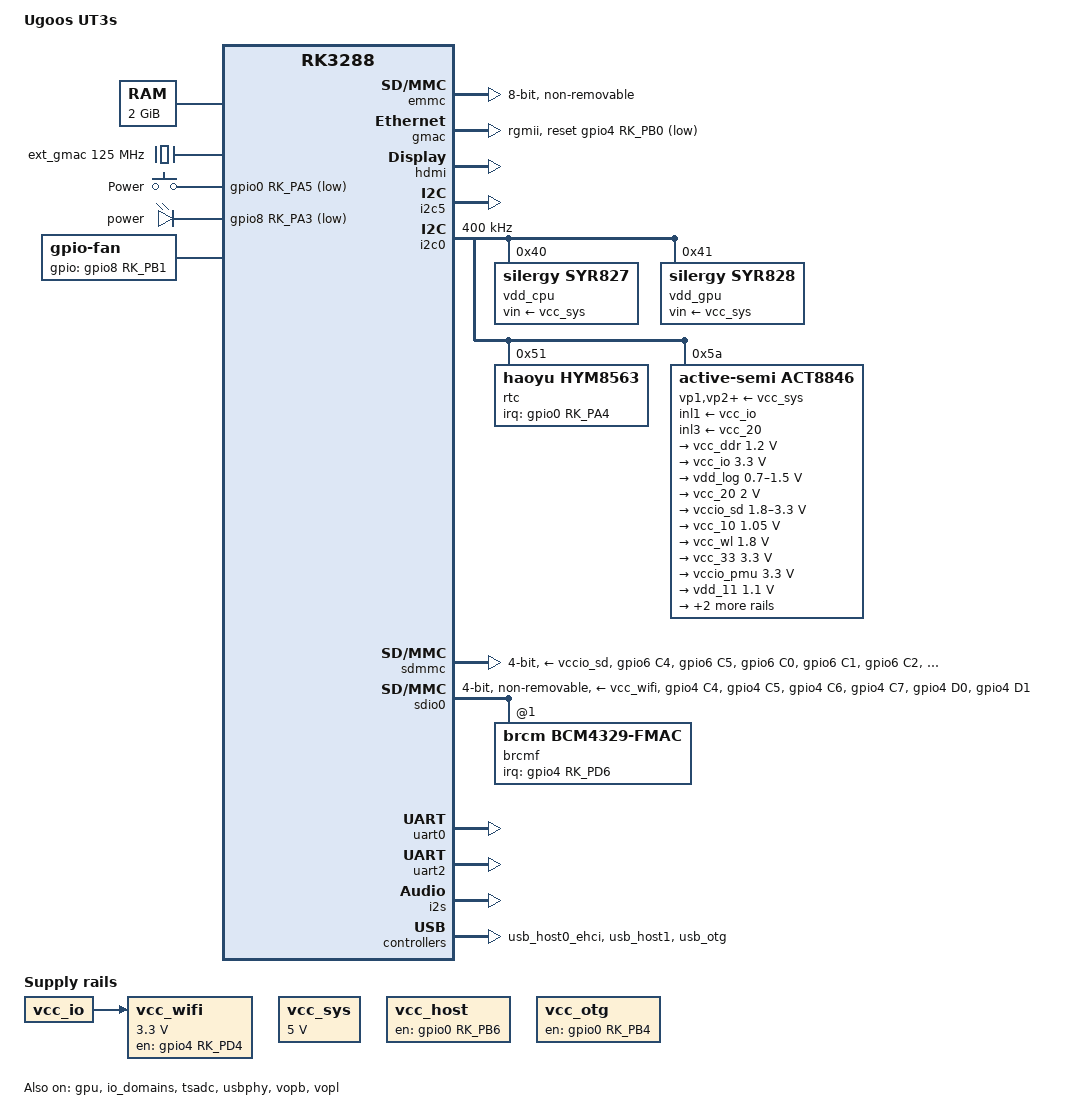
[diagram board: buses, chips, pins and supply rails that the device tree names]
// SPDX-License-Identifier: (GPL-2.0+ OR MIT)
/*
 * Ugoos UT3s (Rockchip RK3288) TV-box
 *
 */
/dts-v1/;
#include "rk3288.dtsi"
#include <dt-bindings/input/input.h>

/ {
	model = "Ugoos UT3s";
	compatible = "ugoos,ut3s", "rockchip,rk3288";

	/*
	 * The MMC core derives the block-device index from the "mmc*" aliases
	 * (of_alias_get_id "mmc"); rk3288.dtsi only provides the legacy "mshc*"
	 * aliases, so without these the index falls back to probe order and the
	 * SD card's mmcblkN number flips between boots.
	 * Pin it: emmc=0, SD=1, SDIO/Wi-Fi=2.
	 */
	aliases {
		mmc0 = &emmc;
		mmc1 = &sdmmc;
		mmc2 = &sdio0;
		mmc3 = &sdio1;
	};

	chosen {
		/* Vendor FIQ debugger was on UART2 (serial-id 0x02). */
		stdout-path = "serial2:115200n8";
	};

	memory@0 {
		device_type = "memory";
		reg = <0x0 0x0 0x0 0x80000000>;
	};

	sound {
		compatible = "simple-audio-card";
		simple-audio-card,format = "i2s";
		simple-audio-card,name = "HDMI";
		simple-audio-card,mclk-fs = <512>;

		simple-audio-card,codec {
			sound-dai = <&hdmi>;
		};

		simple-audio-card,cpu {
			sound-dai = <&i2s>;
		};
	};

	ext_gmac: external-gmac-clock {
		compatible = "fixed-clock";
		clock-frequency = <125000000>;
		clock-output-names = "ext_gmac";
		#clock-cells = <0>;
	};

	/* Factory LAN MAC, read from the Rockchip IDB (loader block) by the
	 * rockchip-idb-mac nvmem driver. */
	idb_mac: idb-mac {
		compatible = "rockchip,rk3288-idb-mac";
		#address-cells = <1>;
		#size-cells = <1>;

		mac_address: mac-address@0 {
			reg = <0x0 0x6>;
		};
	};

	gpio-keys {
		compatible = "gpio-keys";
		autorepeat;

		pinctrl-names = "default";
		pinctrl-0 = <&pwrbtn>;

		power {
			gpios = <&gpio0 RK_PA5 GPIO_ACTIVE_LOW>;
			linux,code = <KEY_POWER>;
			label = "Power";
			linux,input-type = <1>;
			wakeup-source;
			debounce-interval = <100>;
		};
	};

	gpio-leds {
		compatible = "gpio-leds";

		power {
			gpios = <&gpio8 RK_PA3 GPIO_ACTIVE_LOW>;
			label = "power";
			default-state = "on";
		};
	};

	fan: gpio-fan {
		compatible = "gpio-fan";
		gpios = <&gpio8 RK_PB1 GPIO_ACTIVE_HIGH>;
		/* On/off fan; RPM value is a nominal placeholder. */
		gpio-fan,speed-map = <0 0>, <10000 1>;
		#cooling-cells = <2>;
		status = "okay";
	};

	vcc_sys: regulator-vsys {
		compatible = "regulator-fixed";
		regulator-name = "vcc_sys";
		regulator-min-microvolt = <5000000>;
		regulator-max-microvolt = <5000000>;
		regulator-always-on;
		regulator-boot-on;
	};

	vcc_host: regulator-vcc-host {
		compatible = "regulator-fixed";
		regulator-name = "vcc_host";
		enable-active-high;
		gpio = <&gpio0 RK_PB6 GPIO_ACTIVE_HIGH>;
		pinctrl-names = "default";
		pinctrl-0 = <&host_vbus_drv>;
		regulator-always-on;
		regulator-boot-on;
	};

	/* USB OTG VBUS switch; same polarity change as vcc_host above. */
	vcc_otg: regulator-vcc-otg {
		compatible = "regulator-fixed";
		regulator-name = "vcc_otg";
		enable-active-high;
		gpio = <&gpio0 RK_PB4 GPIO_ACTIVE_HIGH>;
		pinctrl-names = "default";
		pinctrl-0 = <&otg_vbus_drv>;
		regulator-always-on;
		regulator-boot-on;
	};

	vcc_wifi: regulator-vcc-wifi {
		compatible = "regulator-fixed";
		regulator-name = "vcc_wifi";
		regulator-min-microvolt = <3300000>;
		regulator-max-microvolt = <3300000>;
		enable-active-high;
		gpio = <&gpio4 RK_PD4 GPIO_ACTIVE_HIGH>;
		pinctrl-names = "default";
		pinctrl-0 = <&wifi_en>;
		startup-delay-us = <100000>;
		vin-supply = <&vcc_io>;
	};
};

&cpu0 {
	cpu0-supply = <&vdd_cpu>;
};

&emmc {
	bus-width = <8>;
	cap-mmc-highspeed;
	disable-wp;
	non-removable;
	pinctrl-names = "default";
	pinctrl-0 = <&emmc_clk &emmc_cmd &emmc_pwr &emmc_bus8>;
	status = "okay";
};

&gmac {
	assigned-clocks = <&cru SCLK_MAC>;
	assigned-clock-parents = <&ext_gmac>;
	clock_in_out = "input";
	phy-mode = "rgmii";
	pinctrl-names = "default";
	pinctrl-0 = <&rgmii_pins>;
	snps,reset-gpio = <&gpio4 RK_PB0 GPIO_ACTIVE_HIGH>;
	snps,reset-active-low;
	snps,reset-delays-us = <0 10000 1000000>;
	tx_delay = <0x30>;
	rx_delay = <0x26>;
	nvmem-cells = <&mac_address>;
	nvmem-cell-names = "mac-address";
	status = "okay";
};

&gpu {
	mali-supply = <&vdd_gpu>;
	status = "okay";
};

&hdmi {
	ddc-i2c-bus = <&i2c5>;
	status = "okay";
};

/* HDMI DDC (monitor EDID) bus. */
&i2c5 {
	status = "okay";
};

&i2c0 {
	clock-frequency = <400000>;
	status = "okay";

	vdd_cpu: syr827@40 {
		compatible = "silergy,syr827";
		fcs,suspend-voltage-selector = <1>;
		reg = <0x40>;
		regulator-name = "vdd_cpu";
		regulator-min-microvolt = <712500>;
		regulator-max-microvolt = <1500000>;
		regulator-always-on;
		regulator-boot-on;
		vin-supply = <&vcc_sys>;
	};

	vdd_gpu: syr828@41 {
		compatible = "silergy,syr828";
		fcs,suspend-voltage-selector = <1>;
		reg = <0x41>;
		regulator-name = "vdd_gpu";
		regulator-min-microvolt = <712500>;
		regulator-max-microvolt = <1500000>;
		regulator-always-on;
		regulator-boot-on;
		vin-supply = <&vcc_sys>;
	};

	rtc@51 {
		compatible = "haoyu,hym8563";
		reg = <0x51>;

		interrupt-parent = <&gpio0>;
		interrupts = <RK_PA4 IRQ_TYPE_EDGE_FALLING>;

		pinctrl-names = "default";
		pinctrl-0 = <&pmic_int>;

		#clock-cells = <0>;
		clock-output-names = "xin32k";
	};

	act8846: act8846@5a {
		compatible = "active-semi,act8846", "act,act8846";
		reg = <0x5a>;
		status = "okay";

		vp1-supply = <&vcc_sys>;
		vp2-supply = <&vcc_sys>;
		vp3-supply = <&vcc_sys>;
		vp4-supply = <&vcc_sys>;
		inl1-supply = <&vcc_io>;
		inl2-supply = <&vcc_sys>;
		inl3-supply = <&vcc_20>;

		regulators {
			vcc_ddr: REG1 {
				regulator-name = "VCC_DDR";
				regulator-min-microvolt = <1200000>;
				regulator-max-microvolt = <1200000>;
				regulator-always-on;
				regulator-boot-on;
			};

			vcc_io: REG2 {
				regulator-name = "VCC_IO";
				regulator-min-microvolt = <3300000>;
				regulator-max-microvolt = <3300000>;
				regulator-always-on;
				regulator-boot-on;
			};

			vdd_log: REG3 {
				regulator-name = "VDD_LOG";
				regulator-min-microvolt = <700000>;
				regulator-max-microvolt = <1500000>;
				regulator-always-on;
				regulator-boot-on;
			};

			vcc_20: REG4 {
				regulator-name = "VCC_20";
				regulator-min-microvolt = <2000000>;
				regulator-max-microvolt = <2000000>;
				regulator-always-on;
				regulator-boot-on;
			};

			vccio_sd: REG5 {
				regulator-name = "VCCIO_SD";
				regulator-min-microvolt = <1800000>;
				regulator-max-microvolt = <3300000>;
				regulator-always-on;
				regulator-boot-on;
			};

			/* vendor "act_ldo2", 1.05 V */
			vcc_10: REG6 {
				regulator-name = "VCC_10";
				regulator-min-microvolt = <1050000>;
				regulator-max-microvolt = <1050000>;
				regulator-always-on;
				regulator-boot-on;
			};

			/* vendor "act_ldo3", 1.8 V Wi-Fi SDIO reference */
			vcc_wl: REG7 {
				regulator-name = "VCC_WL";
				regulator-min-microvolt = <1800000>;
				regulator-max-microvolt = <1800000>;
				regulator-always-on;
				regulator-boot-on;
			};

			/* vendor "act_ldo4", 3.3 V */
			vcc_33: REG8 {
				regulator-name = "VCC_33";
				regulator-min-microvolt = <3300000>;
				regulator-max-microvolt = <3300000>;
				regulator-always-on;
				regulator-boot-on;
			};

			/* vendor "act_ldo5", 3.3 V */
			vccio_pmu: REG9 {
				regulator-name = "VCCIO_PMU";
				regulator-min-microvolt = <3300000>;
				regulator-max-microvolt = <3300000>;
				regulator-always-on;
				regulator-boot-on;
			};

			/* vendor "act_ldo6", 1.1 V */
			vdd_11: REG10 {
				regulator-name = "VDD_11";
				regulator-min-microvolt = <1100000>;
				regulator-max-microvolt = <1100000>;
				regulator-always-on;
				regulator-boot-on;
			};

			/* vendor "vcc_18", 1.8 V */
			vcc_18: REG11 {
				regulator-name = "VCC_18";
				regulator-min-microvolt = <1800000>;
				regulator-max-microvolt = <1800000>;
				regulator-always-on;
				regulator-boot-on;
			};

			/* vendor "act_ldo8", 1.85 V */
			vcc_185: REG12 {
				regulator-name = "VCC_185";
				regulator-min-microvolt = <1850000>;
				regulator-max-microvolt = <1850000>;
				regulator-always-on;
				regulator-boot-on;
			};
		};
	};
};

&io_domains {
	status = "okay";

	/* SD card IO rail is the ACT8846 LDO1 (vccio_sd). */
	sdcard-supply = <&vccio_sd>;
	/* SDIO0 (Wi-Fi) IO rail is 1.8 V. */
	wifi-supply = <&vcc_wl>;
};

&pinctrl {
	pcfg_pull_none_drv_8ma: pcfg-pull-none-drv-8ma {
		drive-strength = <8>;
	};

	pcfg_pull_up_drv_8ma: pcfg-pull-up-drv-8ma {
		bias-pull-up;
		drive-strength = <8>;
	};

	pcfg_pull_none_drv_4ma: pcfg-pull-none-drv-4ma {
		drive-strength = <4>;
	};

	pcfg_pull_up_drv_4ma: pcfg-pull-up-drv-4ma {
		bias-pull-up;
		drive-strength = <4>;
	};

	buttons {
		pwrbtn: pwrbtn {
			rockchip,pins = <0 RK_PA5 RK_FUNC_GPIO &pcfg_pull_up>;
		};
	};

	pmic {
		pmic_int: pmic-int {
			rockchip,pins = <0 RK_PA4 RK_FUNC_GPIO &pcfg_pull_up>;
		};
	};

	sdmmc {
		/*
		 * Bump SDMMC drive strength to 8 mA as on the EVB reference;
		 * the default drive strength is marginal for high-speed cards.
		 */
		sdmmc_bus4: sdmmc-bus4 {
			rockchip,pins = <6 RK_PC0 1 &pcfg_pull_up_drv_8ma>,
					<6 RK_PC1 1 &pcfg_pull_up_drv_8ma>,
					<6 RK_PC2 1 &pcfg_pull_up_drv_8ma>,
					<6 RK_PC3 1 &pcfg_pull_up_drv_8ma>;
		};

		sdmmc_clk: sdmmc-clk {
			rockchip,pins = <6 RK_PC4 1 &pcfg_pull_none_drv_8ma>;
		};

		sdmmc_cmd: sdmmc-cmd {
			rockchip,pins = <6 RK_PC5 1 &pcfg_pull_up_drv_8ma>;
		};
	};

	sdio0 {
		sdio0_bus4: sdio0-bus4 {
			rockchip,pins = <4 RK_PC4 1 &pcfg_pull_up_drv_8ma>,
					<4 RK_PC5 1 &pcfg_pull_up_drv_8ma>,
					<4 RK_PC6 1 &pcfg_pull_up_drv_8ma>,
					<4 RK_PC7 1 &pcfg_pull_up_drv_8ma>;
		};

		sdio0_cmd: sdio0-cmd {
			rockchip,pins = <4 RK_PD0 1 &pcfg_pull_up_drv_8ma>;
		};

		sdio0_clk: sdio0-clk {
			rockchip,pins = <4 RK_PD1 1 &pcfg_pull_none_drv_8ma>;
		};
	};

	usb {
		host_vbus_drv: host-vbus-drv {
			rockchip,pins = <0 RK_PB6 RK_FUNC_GPIO &pcfg_pull_none>;
		};

		otg_vbus_drv: otg-vbus-drv {
			rockchip,pins = <0 RK_PB4 RK_FUNC_GPIO &pcfg_pull_none>;
		};
	};

	wifi {
		wifi_en: wifi-en {
			rockchip,pins = <4 RK_PD4 RK_FUNC_GPIO &pcfg_pull_none>;
		};

		/*
		 * Broadcom OOB host-wake on the SDIO0_INTn pin (GPIO4_PD6), muxed
		 * to GPIO mode for use as brcmfmac's out-of-band interrupt instead
		 * of the in-band SDIO interrupt.  Matches the vendor
		 * WIFI,host_wake_irq = <&gpio4 30 0>.
		 */
		wifi_host_wake: wifi-host-wake {
			rockchip,pins = <4 RK_PD6 RK_FUNC_GPIO &pcfg_pull_up>;
		};
	};
};

&sdmmc {
	bus-width = <4>;
	cap-mmc-highspeed;
	cap-sd-highspeed;
	card-detect-delay = <200>;
	disable-wp;
	pinctrl-names = "default";
	pinctrl-0 = <&sdmmc_clk &sdmmc_cmd &sdmmc_cd &sdmmc_bus4>;
	status = "okay";
	vmmc-supply = <&vccio_sd>;
	vqmmc-supply = <&vccio_sd>;
};

&sdio0 {
	bus-width = <4>;
	cap-sd-highspeed;
	sd-uhs-sdr104;
	keep-power-in-suspend;
	non-removable;
	max-frequency = <150000000>;
	rockchip,default-sample-phase = <90>;
	pinctrl-names = "default";
	pinctrl-0 = <&sdio0_bus4 &sdio0_cmd &sdio0_clk>;
	vmmc-supply = <&vcc_wifi>;
	vqmmc-supply = <&vcc_wl>;
	#address-cells = <1>;
	#size-cells = <0>;
	status = "okay";

	brcmf: wifi@1 {
		compatible = "brcm,bcm4329-fmac";
		reg = <1>;
		interrupt-parent = <&gpio4>;
		interrupts = <RK_PD6 IRQ_TYPE_LEVEL_LOW>;
		interrupt-names = "host-wake";
		pinctrl-names = "default";
		pinctrl-0 = <&wifi_host_wake>;
	};
};

&tsadc {
	rockchip,hw-tshut-mode = <0>; /* tshut mode 0:CRU 1:GPIO */
	rockchip,hw-tshut-polarity = <0>; /* tshut polarity 0:LOW 1:HIGH */
	status = "okay";
};

&cpu_thermal {
	cooling-maps {
		map2 {
			trip = <&cpu_alert1>;
			cooling-device = <&fan THERMAL_NO_LIMIT THERMAL_NO_LIMIT>;
		};
	};
};

/* Bluetooth UART (vendor wiring on UART0 + four control GPIOs).
 *
 * Kept as a plain ttyS0: the AP6335/BCM4339 BT is brought up from
 * userspace with brcm_patchram_plus + hci_ldisc (like the vendor and
 * the Firefly), not via the hci_bcm serdev driver. The four control
 * GPIOs (D2/D3/D5/D7) and the RTS handshake are handled by the
 * userspace power-on script instead. */
&uart0 {
	/* The vendor runs this UART in PIO mode (dma-names = "!tx", "!rx"):
	 * the Broadcom HCI UART does not play well with the 8250 RX/TX DMA. */
	/delete-property/ dmas;
	/delete-property/ dma-names;
	pinctrl-names = "default";
	/* TX/RX + CTS, matching the Firefly/AP6335 wiring. */
	pinctrl-0 = <&uart0_xfer &uart0_cts>;
	status = "okay";
};

/* Debug/serial console. */
&uart2 {
	status = "okay";
};

/* HDMI audio (I2S0 -> dw-hdmi). */
&i2s {
	status = "okay";
};

&usbphy {
	status = "okay";
};

&usb_host0_ehci {
	status = "okay";
};

&usb_host1 {
	status = "okay";
};

&usb_otg {
	status = "okay";
};

&vopb {
	/delete-property/ iommus;
	status = "okay";
};

&vopb_mmu {
	status = "disabled";
};

&vopl {
	/delete-property/ iommus;
	status = "okay";
};

&vopl_mmu {
	status = "disabled";
};
